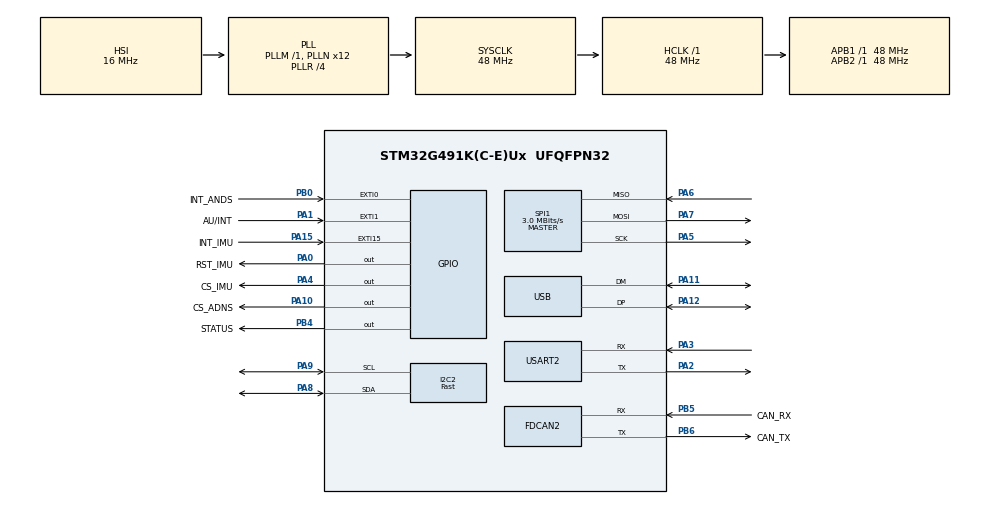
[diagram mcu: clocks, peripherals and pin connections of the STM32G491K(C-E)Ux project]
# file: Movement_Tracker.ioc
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FDCAN2.CalculateBaudRateNominal=600000
FDCAN2.CalculateTimeBitNominal=1666
FDCAN2.CalculateTimeQuantumNominal=333.3333333333333
I2C2.I2C_Speed_Mode=I2C_Fast
I2C2.OwnAddress=0x66
I2C2.Timing=0x2010091A
Mcu.Family=STM32G4
Mcu.Name=STM32G491K(C-E)Ux
Mcu.Package=UFQFPN32
NVIC.EXTI15_10_IRQn=true\:0\:0\:false\:false\:true\:true\:true\:true
NVIC.I2C2_ER_IRQn=true\:0\:0\:false\:false\:true\:true\:true\:true
NVIC.I2C2_EV_IRQn=true\:0\:0\:false\:false\:true\:true\:true\:true
NVIC.PriorityGroup=NVIC_PRIORITYGROUP_4
NVIC.USB_LP_IRQn=true\:0\:0\:false\:false\:true\:false\:true\:true
PA0.GPIO_Label=RST_IMU
PA0.GPIO_PuPd=GPIO_NOPULL
PA0.PinState=GPIO_PIN_SET
PA0.Signal=GPIO_Output
PA1.GPIO_Label=AU/INT
PA1.GPIO_PuPd=GPIO_PULLDOWN
PA1.Signal=SharedStack_PA1
PA1.Stacked=true
PA10.GPIO_Label=CS_ADNS
PA10.GPIO_Speed=GPIO_SPEED_FREQ_VERY_HIGH
PA10.PinState=GPIO_PIN_SET
PA10.Signal=GPIO_Output
PA11.Mode=Device
PA11.Signal=USB_DM
PA12.Mode=Device
PA12.Signal=USB_DP
PA13.GPIO_Label=SWDIO
PA13.Mode=Trace_Asynchronous_SW
PA13.Signal=SYS_JTMS-SWDIO
PA14.GPIO_Label=SWCLK
PA14.Mode=Trace_Asynchronous_SW
PA14.Signal=SYS_JTCK-SWCLK
PA15.GPIO_Label=INT_IMU
PA15.GPIO_ModeDefaultEXTI=GPIO_MODE_IT_FALLING
PA15.GPIO_PuPd=GPIO_PULLUP
PA15.Signal=GPXTI15
PA2.Mode=Asynchronous
PA2.Signal=USART2_TX
PA3.Mode=Asynchronous
PA3.Signal=USART2_RX
PA4.GPIO_Label=CS_IMU
PA4.GPIO_Speed=GPIO_SPEED_FREQ_VERY_HIGH
PA4.PinState=GPIO_PIN_SET
PA4.Signal=GPIO_Output
PA5.Mode=Full_Duplex_Master
PA5.Signal=SPI1_SCK
PA6.Mode=Full_Duplex_Master
PA6.Signal=SPI1_MISO
PA7.Mode=Full_Duplex_Master
PA7.Signal=SPI1_MOSI
PA8.GPIO_Pu=GPIO_PULLUP
PA8.Mode=I2C
PA8.Signal=I2C2_SDA
PA9.GPIO_Pu=GPIO_PULLUP
PA9.Mode=I2C
PA9.Signal=I2C2_SCL
PB0.GPIO_Label=INT_ANDS
PB0.GPIO_PuPd=GPIO_PULLUP
PB0.Signal=GPXTI0
PB3.GPIO_Label=SWO
PB3.Mode=Trace_Asynchronous_SW
PB3.Signal=SYS_JTDO-SWO
PB4.GPIO_Label=STATUS
PB4.Signal=GPIO_Output
PB5.GPIO_Label=CAN_RX
PB5.Mode=FDCAN_Activate
PB5.Signal=FDCAN2_RX
PB6.GPIO_Label=CAN_TX
PB6.Mode=FDCAN_Activate
PB6.Signal=FDCAN2_TX
ProjectManager.HeapSize=0x200
ProjectManager.StackSize=0x400
ProjectManager.TargetToolchain=STM32CubeIDE
RCC.ADC12Freq_Value=48000000
RCC.ADC345Freq_Value=48000000
RCC.AHBFreq_Value=48000000
RCC.APB1Freq_Value=48000000
RCC.APB1TimFreq_Value=48000000
RCC.APB2Freq_Value=48000000
RCC.APB2TimFreq_Value=48000000
RCC.CortexFreq_Value=48000000
RCC.EXTERNAL_CLOCK_VALUE=12288000
RCC.HCLKFreq_Value=48000000
RCC.HSE_VALUE=8000000
RCC.HSI48_VALUE=48000000
RCC.HSI_VALUE=16000000
RCC.LSE_VALUE=32768
RCC.PLLN=12
RCC.PLLR=RCC_PLLR_DIV4
RCC.SYSCLKFreq_VALUE=48000000
RCC.SYSCLKSource=RCC_SYSCLKSOURCE_PLLCLK
RCC.USBFreq_Value=48000000
RCC.VCOOutputFreq_Value=192000000
SH.SharedStack_PA1.0=GPIO_EXTI1
SH.SharedStack_PA1.1=GPIO_Output+0
SPI1.BaudRatePrescaler=SPI_BAUDRATEPRESCALER_16
SPI1.CLKPhase=SPI_PHASE_2EDGE
SPI1.CLKPolarity=SPI_POLARITY_HIGH
SPI1.CalculateBaudRate=3.0 MBits/s
SPI1.Direction=SPI_DIRECTION_2LINES
SPI1.Mode=SPI_MODE_MASTER
SPI1.VirtualType=VM_MASTER
USART2.VirtualMode-Asynchronous=VM_ASYNC
USB_DEVICE.CLASS_NAME_FS=CDC
USB_DEVICE.VirtualMode=Cdc
USB_DEVICE.VirtualModeFS=Cdc_FS
VP_SYS_VS_DBSignals.Mode=DisableDeadBatterySignals
VP_USB_DEVICE_VS_USB_DEVICE_CDC_FS.Mode=CDC_FS
board=custom

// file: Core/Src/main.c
/* USER CODE BEGIN Header */
/**
  ******************************************************************************
  * @file           : main.c
  * @brief          : Main program body
  ******************************************************************************
  * @attention
  *
  * Copyright (c) 2023 STMicroelectronics.
  * All rights reserved.
  *
  * This software is licensed under terms that can be found in the LICENSE file
  * in the root directory of this software component.
  * If no LICENSE file comes with this software, it is provided AS-IS.
  *
  ******************************************************************************
  */
/* USER CODE END Header */
#include "main.h"
#include "usb_device.h"

/* USER CODE BEGIN Includes */
#include "runtime.h"
#include "main.h"
#include "usb_device.h"

#include "BNO085.h"
#include "ADNS9800.h"

#include "movement_tracker.h"

#include "micros.h"
#include <stdio.h>
/* USER CODE END Includes */

FDCAN_HandleTypeDef hfdcan2;

I2C_HandleTypeDef hi2c2;

SPI_HandleTypeDef hspi1;

UART_HandleTypeDef huart2;

void SystemClock_Config(void);
static void MX_GPIO_Init(void);
static void MX_FDCAN2_Init(void);
static void MX_I2C2_Init(void);
static void MX_SPI1_Init(void);
static void MX_USART2_UART_Init(void);

/* USER CODE BEGIN 0 */
int __io_putchar(char ch)
{
	HAL_UART_Transmit(&huart2, (uint8_t *)&ch, 1, HAL_MAX_DELAY);
	return ch;
}

int __io_getchar(void)
{
	char ch;
	HAL_UART_Receive(&huart2, (uint8_t *)&ch, 1, 1);
	return ch;
}

/* USER CODE END 0 */

int main(void)
{

  /* MCU Configuration--------------------------------------------------------*/

  /* Reset of all peripherals, Initializes the Flash interface and the Systick. */
  HAL_Init();

  /* Configure the system clock */
  SystemClock_Config();

  /* Initialize all configured peripherals */
  MX_GPIO_Init();
  MX_FDCAN2_Init();
  MX_I2C2_Init();
  MX_SPI1_Init();
  MX_USART2_UART_Init();
  MX_USB_Device_Init();
  /* USER CODE BEGIN 2 */
  DWT_Init();

  printf("=== HAL init done, proceeding ... ===\n");
  HAL_GPIO_WritePin(CS_ADNS_GPIO_Port, CS_ADNS_Pin, GPIO_PIN_SET);
  HAL_GPIO_WritePin(CS_IMU_GPIO_Port, CS_IMU_Pin, GPIO_PIN_SET);
  setup();
  printf("=== User init done, proceeding ... ===\n");
  /* USER CODE END 2 */

  /* Infinite loop */
  /* USER CODE BEGIN WHILE */
  while (1)
  {
	  loop();
    /* USER CODE END WHILE */

  }
}

void SystemClock_Config(void)
{
  RCC_OscInitTypeDef RCC_OscInitStruct = {0};
  RCC_ClkInitTypeDef RCC_ClkInitStruct = {0};

  /** Configure the main internal regulator output voltage
  */
  HAL_PWREx_ControlVoltageScaling(PWR_REGULATOR_VOLTAGE_SCALE1);

  /** Initializes the RCC Oscillators according to the specified parameters
  * in the RCC_OscInitTypeDef structure.
  */
  RCC_OscInitStruct.OscillatorType = RCC_OSCILLATORTYPE_HSI|RCC_OSCILLATORTYPE_HSI48;
  RCC_OscInitStruct.HSIState = RCC_HSI_ON;
  RCC_OscInitStruct.HSICalibrationValue = RCC_HSICALIBRATION_DEFAULT;
  RCC_OscInitStruct.HSI48State = RCC_HSI48_ON;
  RCC_OscInitStruct.PLL.PLLState = RCC_PLL_ON;
  RCC_OscInitStruct.PLL.PLLSource = RCC_PLLSOURCE_HSI;
  RCC_OscInitStruct.PLL.PLLM = RCC_PLLM_DIV1;
  RCC_OscInitStruct.PLL.PLLN = 12;
  RCC_OscInitStruct.PLL.PLLP = RCC_PLLP_DIV2;
  RCC_OscInitStruct.PLL.PLLQ = RCC_PLLQ_DIV2;
  RCC_OscInitStruct.PLL.PLLR = RCC_PLLR_DIV4;
  if (HAL_RCC_OscConfig(&RCC_OscInitStruct) != HAL_OK)
  {
    Error_Handler();
  }

  /** Initializes the CPU, AHB and APB buses clocks
  */
  RCC_ClkInitStruct.ClockType = RCC_CLOCKTYPE_HCLK|RCC_CLOCKTYPE_SYSCLK
                              |RCC_CLOCKTYPE_PCLK1|RCC_CLOCKTYPE_PCLK2;
  RCC_ClkInitStruct.SYSCLKSource = RCC_SYSCLKSOURCE_PLLCLK;
  RCC_ClkInitStruct.AHBCLKDivider = RCC_SYSCLK_DIV1;
  RCC_ClkInitStruct.APB1CLKDivider = RCC_HCLK_DIV1;
  RCC_ClkInitStruct.APB2CLKDivider = RCC_HCLK_DIV1;

  if (HAL_RCC_ClockConfig(&RCC_ClkInitStruct, FLASH_LATENCY_1) != HAL_OK)
  {
    Error_Handler();
  }
}

static void MX_FDCAN2_Init(void)
{

  hfdcan2.Instance = FDCAN2;
  hfdcan2.Init.ClockDivider = FDCAN_CLOCK_DIV1;
  hfdcan2.Init.FrameFormat = FDCAN_FRAME_CLASSIC;
  hfdcan2.Init.Mode = FDCAN_MODE_NORMAL;
  hfdcan2.Init.AutoRetransmission = DISABLE;
  hfdcan2.Init.TransmitPause = DISABLE;
  hfdcan2.Init.ProtocolException = DISABLE;
  hfdcan2.Init.NominalPrescaler = 16;
  hfdcan2.Init.NominalSyncJumpWidth = 1;
  hfdcan2.Init.NominalTimeSeg1 = 2;
  hfdcan2.Init.NominalTimeSeg2 = 2;
  hfdcan2.Init.DataPrescaler = 1;
  hfdcan2.Init.DataSyncJumpWidth = 1;
  hfdcan2.Init.DataTimeSeg1 = 1;
  hfdcan2.Init.DataTimeSeg2 = 1;
  hfdcan2.Init.StdFiltersNbr = 0;
  hfdcan2.Init.ExtFiltersNbr = 0;
  hfdcan2.Init.TxFifoQueueMode = FDCAN_TX_FIFO_OPERATION;
  if (HAL_FDCAN_Init(&hfdcan2) != HAL_OK)
  {
    Error_Handler();
  }

}

static void MX_I2C2_Init(void)
{

  hi2c2.Instance = I2C2;
  hi2c2.Init.Timing = 0x2010091A;
  hi2c2.Init.OwnAddress1 = 204;
  hi2c2.Init.AddressingMode = I2C_ADDRESSINGMODE_7BIT;
  hi2c2.Init.DualAddressMode = I2C_DUALADDRESS_DISABLE;
  hi2c2.Init.OwnAddress2 = 0;
  hi2c2.Init.OwnAddress2Masks = I2C_OA2_NOMASK;
  hi2c2.Init.GeneralCallMode = I2C_GENERALCALL_DISABLE;
  hi2c2.Init.NoStretchMode = I2C_NOSTRETCH_DISABLE;
  if (HAL_I2C_Init(&hi2c2) != HAL_OK)
  {
    Error_Handler();
  }

  /** Configure Analogue filter
  */
  if (HAL_I2CEx_ConfigAnalogFilter(&hi2c2, I2C_ANALOGFILTER_ENABLE) != HAL_OK)
  {
    Error_Handler();
  }

  /** Configure Digital filter
  */
  if (HAL_I2CEx_ConfigDigitalFilter(&hi2c2, 0) != HAL_OK)
  {
    Error_Handler();
  }

}

static void MX_SPI1_Init(void)
{

  /* SPI1 parameter configuration*/
  hspi1.Instance = SPI1;
  hspi1.Init.Mode = SPI_MODE_MASTER;
  hspi1.Init.Direction = SPI_DIRECTION_2LINES;
  hspi1.Init.DataSize = SPI_DATASIZE_8BIT;
  hspi1.Init.CLKPolarity = SPI_POLARITY_HIGH;
  hspi1.Init.CLKPhase = SPI_PHASE_2EDGE;
  hspi1.Init.NSS = SPI_NSS_SOFT;
  hspi1.Init.BaudRatePrescaler = SPI_BAUDRATEPRESCALER_16;
  hspi1.Init.FirstBit = SPI_FIRSTBIT_MSB;
  hspi1.Init.TIMode = SPI_TIMODE_DISABLE;
  hspi1.Init.CRCCalculation = SPI_CRCCALCULATION_DISABLE;
  hspi1.Init.CRCPolynomial = 7;
  hspi1.Init.CRCLength = SPI_CRC_LENGTH_DATASIZE;
  hspi1.Init.NSSPMode = SPI_NSS_PULSE_DISABLE;
  if (HAL_SPI_Init(&hspi1) != HAL_OK)
  {
    Error_Handler();
  }

}

static void MX_USART2_UART_Init(void)
{

  huart2.Instance = USART2;
  huart2.Init.BaudRate = 115200;
  huart2.Init.WordLength = UART_WORDLENGTH_8B;
  huart2.Init.StopBits = UART_STOPBITS_1;
  huart2.Init.Parity = UART_PARITY_NONE;
  huart2.Init.Mode = UART_MODE_TX_RX;
  huart2.Init.HwFlowCtl = UART_HWCONTROL_NONE;
  huart2.Init.OverSampling = UART_OVERSAMPLING_16;
  huart2.Init.OneBitSampling = UART_ONE_BIT_SAMPLE_DISABLE;
  huart2.Init.ClockPrescaler = UART_PRESCALER_DIV1;
  huart2.AdvancedInit.AdvFeatureInit = UART_ADVFEATURE_NO_INIT;
  if (HAL_UART_Init(&huart2) != HAL_OK)
  {
    Error_Handler();
  }
  if (HAL_UARTEx_SetTxFifoThreshold(&huart2, UART_TXFIFO_THRESHOLD_1_8) != HAL_OK)
  {
    Error_Handler();
  }
  if (HAL_UARTEx_SetRxFifoThreshold(&huart2, UART_RXFIFO_THRESHOLD_1_8) != HAL_OK)
  {
    Error_Handler();
  }
  if (HAL_UARTEx_DisableFifoMode(&huart2) != HAL_OK)
  {
    Error_Handler();
  }

}

static void MX_GPIO_Init(void)
{
  GPIO_InitTypeDef GPIO_InitStruct = {0};

  /* GPIO Ports Clock Enable */
  __HAL_RCC_GPIOA_CLK_ENABLE();
  __HAL_RCC_GPIOB_CLK_ENABLE();

  /*Configure GPIO pin Output Level */
  HAL_GPIO_WritePin(GPIOA, RST_IMU_Pin|CS_IMU_Pin|CS_ADNS_Pin, GPIO_PIN_SET);

  /*Configure GPIO pin Output Level */
  HAL_GPIO_WritePin(STATUS_GPIO_Port, STATUS_Pin, GPIO_PIN_RESET);

  /*Configure GPIO pin : RST_IMU_Pin */
  GPIO_InitStruct.Pin = RST_IMU_Pin;
  GPIO_InitStruct.Mode = GPIO_MODE_OUTPUT_PP;
  GPIO_InitStruct.Pull = GPIO_NOPULL;
  GPIO_InitStruct.Speed = GPIO_SPEED_FREQ_LOW;
  HAL_GPIO_Init(RST_IMU_GPIO_Port, &GPIO_InitStruct);

  /*Configure GPIO pin : AU_INT_Pin */
  GPIO_InitStruct.Pin = AU_INT_Pin;
  GPIO_InitStruct.Mode = GPIO_MODE_IT_RISING;
  GPIO_InitStruct.Pull = GPIO_PULLDOWN;
  HAL_GPIO_Init(AU_INT_GPIO_Port, &GPIO_InitStruct);

  /*Configure GPIO pins : CS_IMU_Pin CS_ADNS_Pin */
  GPIO_InitStruct.Pin = CS_IMU_Pin|CS_ADNS_Pin;
  GPIO_InitStruct.Mode = GPIO_MODE_OUTPUT_PP;
  GPIO_InitStruct.Pull = GPIO_NOPULL;
  GPIO_InitStruct.Speed = GPIO_SPEED_FREQ_VERY_HIGH;
  HAL_GPIO_Init(GPIOA, &GPIO_InitStruct);

  /*Configure GPIO pin : INT_ANDS_Pin */
  GPIO_InitStruct.Pin = INT_ANDS_Pin;
  GPIO_InitStruct.Mode = GPIO_MODE_IT_RISING;
  GPIO_InitStruct.Pull = GPIO_PULLUP;
  HAL_GPIO_Init(INT_ANDS_GPIO_Port, &GPIO_InitStruct);

  /*Configure GPIO pin : INT_IMU_Pin */
  GPIO_InitStruct.Pin = INT_IMU_Pin;
  GPIO_InitStruct.Mode = GPIO_MODE_IT_FALLING;
  GPIO_InitStruct.Pull = GPIO_PULLUP;
  HAL_GPIO_Init(INT_IMU_GPIO_Port, &GPIO_InitStruct);

  /*Configure GPIO pin : STATUS_Pin */
  GPIO_InitStruct.Pin = STATUS_Pin;
  GPIO_InitStruct.Mode = GPIO_MODE_OUTPUT_PP;
  GPIO_InitStruct.Pull = GPIO_NOPULL;
  GPIO_InitStruct.Speed = GPIO_SPEED_FREQ_LOW;
  HAL_GPIO_Init(STATUS_GPIO_Port, &GPIO_InitStruct);

  /* EXTI interrupt init*/
  HAL_NVIC_SetPriority(EXTI15_10_IRQn, 0, 0);
  HAL_NVIC_EnableIRQ(EXTI15_10_IRQn);

}

void Error_Handler(void)
{
  __disable_irq();
  while (1)
  {
  }
}
